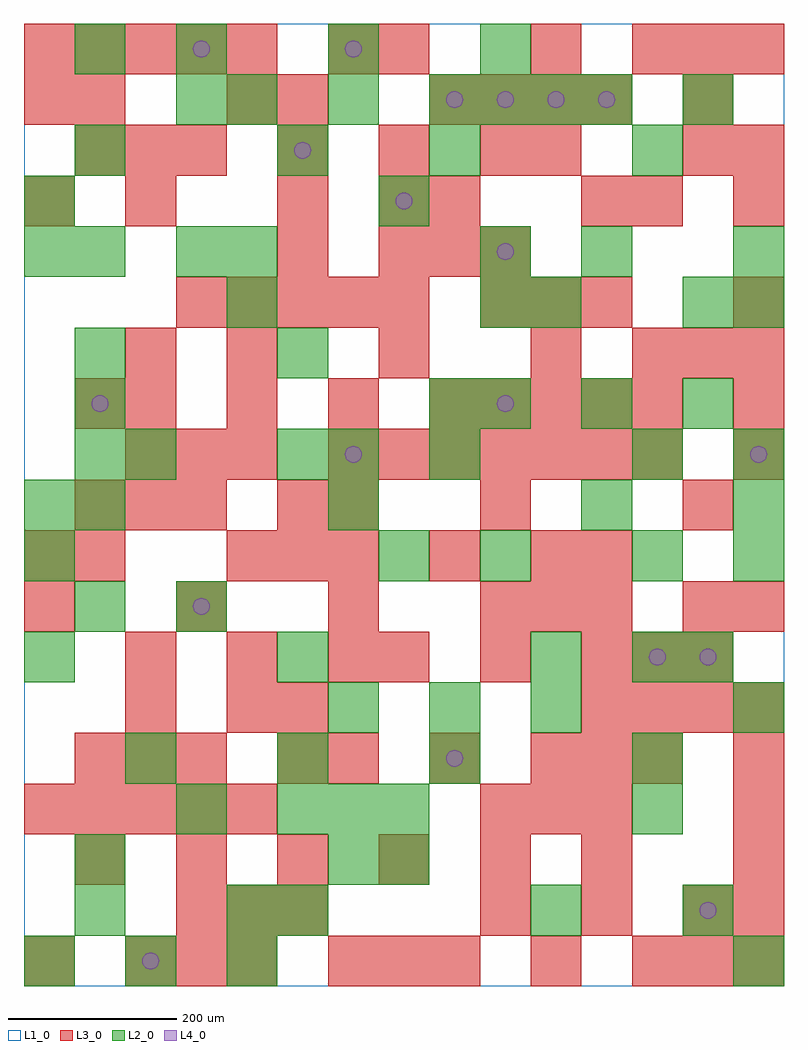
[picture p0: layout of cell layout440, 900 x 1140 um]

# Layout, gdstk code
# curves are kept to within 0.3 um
import gdstk
lib = gdstk.Library(unit=1e-6, precision=1e-09)
def R(c, l, rs):  # rectangles x0, y0, x1, y1
    for r in rs: c.add(gdstk.rectangle(r[:2], r[2:], *l))
def A(c, l, x, y, w, h, nx, ny, dx, dy):  # array of equal rectangles
    R(c, l, [(x+i*dx, y+j*dy, x+i*dx+w, y+j*dy+h) for i in range(nx) for j in range(ny)])
def P(c, l, *ps):  # polygons
    for p in ps: c.add(gdstk.Polygon(p, *l))
L1_0 = (1, 0)
L2_0 = (2, 0)
L3_0 = (3, 0)
L4_0 = (4, 0)

layout440 = lib.new_cell('layout440')
R(layout440, L1_0, [(0,0,900,1140)])
A(layout440, L2_0, 0, 0, 60, 60, 3, 1, 120, 0)
A(layout440, L2_0, 300, 180, 60, 60, 3, 1, 60, 0)
A(layout440, L2_0, 120, 240, 60, 60, 3, 1, 180, 0)
A(layout440, L2_0, 720, 240, 60, 60, 1, 4, 0, 120)
A(layout440, L2_0, 360, 300, 60, 60, 3, 1, 120, 0)
A(layout440, L2_0, 0, 360, 60, 60, 3, 1, 300, 0)
A(layout440, L2_0, 840, 480, 60, 60, 1, 3, 0, 60)
A(layout440, L2_0, 60, 540, 60, 60, 3, 1, 300, 0)
A(layout440, L2_0, 60, 600, 60, 60, 1, 3, 0, 60)
A(layout440, L2_0, 540, 660, 60, 60, 3, 1, 120, 0)
A(layout440, L2_0, 60, 840, 60, 60, 1, 3, 0, 120)
A(layout440, L2_0, 240, 1020, 60, 60, 3, 1, 120, 0)
A(layout440, L2_0, 540, 1020, 60, 60, 3, 1, 60, 0)
A(layout440, L2_0, 180, 1080, 60, 60, 3, 1, 180, 0)
R(layout440, L2_0, [(840,0,900,60), (60,60,120,120), (240,60,300,120), (300,60,360,120), (600,60,660,120), (780,60,840,120), (60,120,120,180), (360,120,420,180), (420,120,480,180), (180,180,240,240), (720,180,780,240), (840,300,900,360), (780,360,840,420), (60,420,120,480), (180,420,240,480), (0,480,60,540), (420,480,480,540), (540,480,600,540), (0,540,60,600), (120,600,180,660), (300,600,360,660), (360,600,420,660), (480,600,540,660), (480,660,540,720), (300,720,360,780), (240,780,300,840), (540,780,600,840), (600,780,660,840), (780,780,840,840), (840,780,900,840), (0,840,60,900), (180,840,240,900), (240,840,300,900), (540,840,600,900), (660,840,720,900), (840,840,900,900), (0,900,60,960), (420,900,480,960), (300,960,360,1020), (480,960,540,1020), (720,960,780,1020), (180,1020,240,1080), (780,1020,840,1080)])
A(layout440, L3_0, 120, 0, 60, 60, 3, 2, 60, 600)
A(layout440, L3_0, 360, 0, 60, 60, 3, 1, 60, 0)
A(layout440, L3_0, 720, 0, 60, 60, 3, 2, 60, 720)
A(layout440, L3_0, 180, 60, 60, 60, 3, 1, 60, 0)
A(layout440, L3_0, 540, 60, 60, 60, 3, 1, 120, 0)
A(layout440, L3_0, 840, 60, 60, 60, 1, 4, 0, 60)
A(layout440, L3_0, 60, 120, 60, 60, 6, 1, 120, 0)
A(layout440, L3_0, 0, 180, 60, 60, 5, 2, 60, 900)
A(layout440, L3_0, 540, 180, 60, 60, 3, 2, 60, 600)
A(layout440, L3_0, 60, 240, 60, 60, 3, 2, 60, 300)
A(layout440, L3_0, 360, 240, 60, 60, 3, 1, 120, 0)
A(layout440, L3_0, 660, 300, 60, 60, 4, 1, 60, 0)
A(layout440, L3_0, 120, 360, 60, 60, 3, 1, 120, 0)
A(layout440, L3_0, 420, 360, 60, 60, 3, 1, 120, 0)
A(layout440, L3_0, 0, 420, 60, 60, 4, 1, 180, 0)
A(layout440, L3_0, 240, 480, 60, 60, 3, 1, 60, 0)
A(layout440, L3_0, 360, 600, 60, 60, 7, 1, 60, 0)
A(layout440, L3_0, 120, 660, 60, 60, 4, 1, 120, 0)
A(layout440, L3_0, 540, 660, 60, 60, 4, 1, 60, 0)
A(layout440, L3_0, 840, 660, 60, 60, 1, 3, 0, 120)
A(layout440, L3_0, 240, 720, 60, 60, 3, 1, 180, 0)
A(layout440, L3_0, 180, 780, 60, 60, 5, 1, 60, 0)
A(layout440, L3_0, 420, 840, 60, 60, 3, 1, 60, 0)
A(layout440, L3_0, 60, 960, 60, 60, 3, 1, 60, 0)
A(layout440, L3_0, 300, 960, 60, 60, 3, 1, 120, 0)
A(layout440, L3_0, 480, 1020, 60, 60, 4, 1, 60, 0)
A(layout440, L3_0, 720, 1080, 60, 60, 3, 1, 60, 0)
R(layout440, L3_0, [(0,0,60,60), (600,0,660,60), (300,240,360,300), (660,240,720,300), (720,240,780,300), (120,300,180,360), (240,300,300,360), (300,300,360,360), (720,360,780,420), (780,360,840,420), (600,420,660,480), (660,420,720,480), (780,420,840,480), (840,420,900,480), (0,480,60,540), (60,480,120,540), (480,480,540,540), (600,480,660,540), (660,480,720,540), (300,540,360,600), (360,540,420,600), (540,540,600,600), (780,540,840,600), (840,600,900,660), (60,660,120,720), (120,720,180,780), (300,840,360,900), (0,900,60,960), (120,900,180,960), (300,900,360,960), (420,900,480,960), (480,900,540,960), (660,900,720,960), (720,900,780,960), (600,960,660,1020), (780,960,840,1020), (840,960,900,1020), (0,1020,60,1080), (60,1020,120,1080), (240,1020,300,1080), (300,1020,360,1080), (780,1020,840,1080), (360,1080,420,1140), (420,1080,480,1140), (600,1080,660,1140)])
P(layout440, L4_0, [(100,690),(99.239,693.827),(97.071,697.071),(93.827,699.239),(90,700),(86.173,699.239),(82.929,697.071),(80.761,693.827),(80,690),(80.761,686.173),(82.929,682.929),(86.173,680.761),(90,680),(93.827,680.761),(97.071,682.929),(99.239,686.173)],
  [(160,30),(159.239,33.827),(157.071,37.071),(153.827,39.239),(150,40),(146.173,39.239),(142.929,37.071),(140.761,33.827),(140,30),(140.761,26.173),(142.929,22.929),(146.173,20.761),(150,20),(153.827,20.761),(157.071,22.929),(159.239,26.173)],
  [(220,450),(219.239,453.827),(217.071,457.071),(213.827,459.239),(210,460),(206.173,459.239),(202.929,457.071),(200.761,453.827),(200,450),(200.761,446.173),(202.929,442.929),(206.173,440.761),(210,440),(213.827,440.761),(217.071,442.929),(219.239,446.173)],
  [(220,1110),(219.239,1113.827),(217.071,1117.071),(213.827,1119.239),(210,1120),(206.173,1119.239),(202.929,1117.071),(200.761,1113.827),(200,1110),(200.761,1106.173),(202.929,1102.929),(206.173,1100.761),(210,1100),(213.827,1100.761),(217.071,1102.929),(219.239,1106.173)],
  [(340,990),(339.239,993.827),(337.071,997.071),(333.827,999.239),(330,1000),(326.173,999.239),(322.929,997.071),(320.761,993.827),(320,990),(320.761,986.173),(322.929,982.929),(326.173,980.761),(330,980),(333.827,980.761),(337.071,982.929),(339.239,986.173)],
  [(400,630),(399.239,633.827),(397.071,637.071),(393.827,639.239),(390,640),(386.173,639.239),(382.929,637.071),(380.761,633.827),(380,630),(380.761,626.173),(382.929,622.929),(386.173,620.761),(390,620),(393.827,620.761),(397.071,622.929),(399.239,626.173)],
  [(400,1110),(399.239,1113.827),(397.071,1117.071),(393.827,1119.239),(390,1120),(386.173,1119.239),(382.929,1117.071),(380.761,1113.827),(380,1110),(380.761,1106.173),(382.929,1102.929),(386.173,1100.761),(390,1100),(393.827,1100.761),(397.071,1102.929),(399.239,1106.173)],
  [(460,930),(459.239,933.827),(457.071,937.071),(453.827,939.239),(450,940),(446.173,939.239),(442.929,937.071),(440.761,933.827),(440,930),(440.761,926.173),(442.929,922.929),(446.173,920.761),(450,920),(453.827,920.761),(457.071,922.929),(459.239,926.173)],
  [(520,270),(519.239,273.827),(517.071,277.071),(513.827,279.239),(510,280),(506.173,279.239),(502.929,277.071),(500.761,273.827),(500,270),(500.761,266.173),(502.929,262.929),(506.173,260.761),(510,260),(513.827,260.761),(517.071,262.929),(519.239,266.173)],
  [(520,1050),(519.239,1053.827),(517.071,1057.071),(513.827,1059.239),(510,1060),(506.173,1059.239),(502.929,1057.071),(500.761,1053.827),(500,1050),(500.761,1046.173),(502.929,1042.929),(506.173,1040.761),(510,1040),(513.827,1040.761),(517.071,1042.929),(519.239,1046.173)],
  [(580,690),(579.239,693.827),(577.071,697.071),(573.827,699.239),(570,700),(566.173,699.239),(562.929,697.071),(560.761,693.827),(560,690),(560.761,686.173),(562.929,682.929),(566.173,680.761),(570,680),(573.827,680.761),(577.071,682.929),(579.239,686.173)],
  [(580,870),(579.239,873.827),(577.071,877.071),(573.827,879.239),(570,880),(566.173,879.239),(562.929,877.071),(560.761,873.827),(560,870),(560.761,866.173),(562.929,862.929),(566.173,860.761),(570,860),(573.827,860.761),(577.071,862.929),(579.239,866.173)],
  [(580,1050),(579.239,1053.827),(577.071,1057.071),(573.827,1059.239),(570,1060),(566.173,1059.239),(562.929,1057.071),(560.761,1053.827),(560,1050),(560.761,1046.173),(562.929,1042.929),(566.173,1040.761),(570,1040),(573.827,1040.761),(577.071,1042.929),(579.239,1046.173)],
  [(640,1050),(639.239,1053.827),(637.071,1057.071),(633.827,1059.239),(630,1060),(626.173,1059.239),(622.929,1057.071),(620.761,1053.827),(620,1050),(620.761,1046.173),(622.929,1042.929),(626.173,1040.761),(630,1040),(633.827,1040.761),(637.071,1042.929),(639.239,1046.173)],
  [(700,1050),(699.239,1053.827),(697.071,1057.071),(693.827,1059.239),(690,1060),(686.173,1059.239),(682.929,1057.071),(680.761,1053.827),(680,1050),(680.761,1046.173),(682.929,1042.929),(686.173,1040.761),(690,1040),(693.827,1040.761),(697.071,1042.929),(699.239,1046.173)],
  [(760,390),(759.239,393.827),(757.071,397.071),(753.827,399.239),(750,400),(746.173,399.239),(742.929,397.071),(740.761,393.827),(740,390),(740.761,386.173),(742.929,382.929),(746.173,380.761),(750,380),(753.827,380.761),(757.071,382.929),(759.239,386.173)],
  [(820,90),(819.239,93.827),(817.071,97.071),(813.827,99.239),(810,100),(806.173,99.239),(802.929,97.071),(800.761,93.827),(800,90),(800.761,86.173),(802.929,82.929),(806.173,80.761),(810,80),(813.827,80.761),(817.071,82.929),(819.239,86.173)],
  [(820,390),(819.239,393.827),(817.071,397.071),(813.827,399.239),(810,400),(806.173,399.239),(802.929,397.071),(800.761,393.827),(800,390),(800.761,386.173),(802.929,382.929),(806.173,380.761),(810,380),(813.827,380.761),(817.071,382.929),(819.239,386.173)],
  [(880,630),(879.239,633.827),(877.071,637.071),(873.827,639.239),(870,640),(866.173,639.239),(862.929,637.071),(860.761,633.827),(860,630),(860.761,626.173),(862.929,622.929),(866.173,620.761),(870,620),(873.827,620.761),(877.071,622.929),(879.239,626.173)])

lib.write_gds('layout440.gds')
